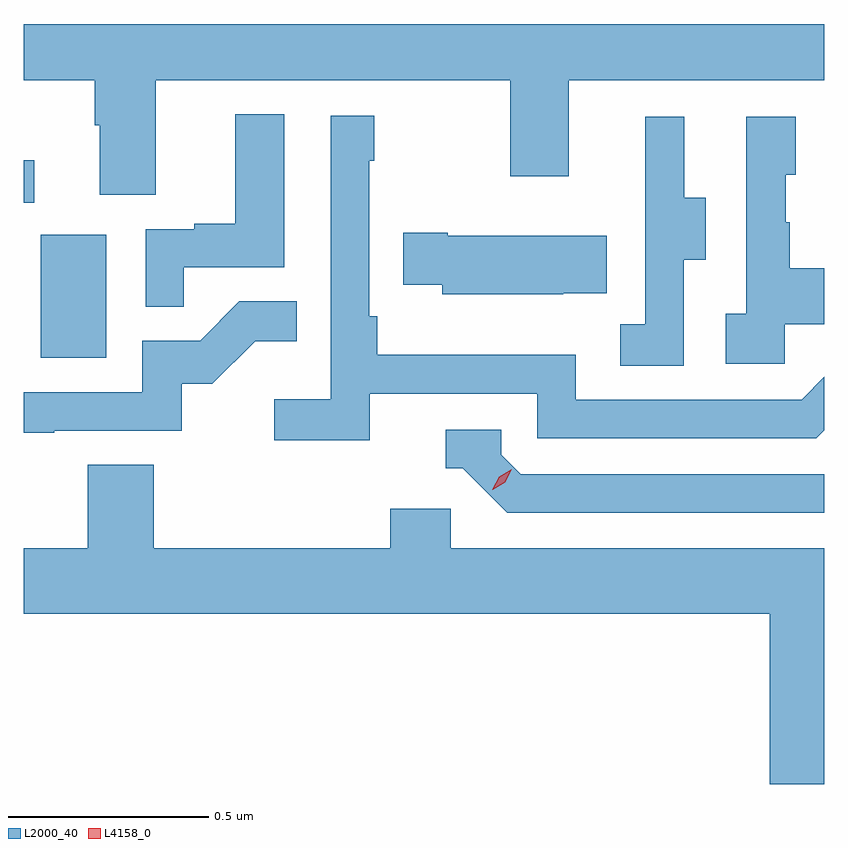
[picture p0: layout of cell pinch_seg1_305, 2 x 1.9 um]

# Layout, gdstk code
import gdstk
lib = gdstk.Library(unit=1e-6, precision=1e-09)
def R(c, l, rs):  # rectangles x0, y0, x1, y1
    for r in rs: c.add(gdstk.rectangle(r[:2], r[2:], *l))
def P(c, l, *ps):  # polygons
    for p in ps: c.add(gdstk.Polygon(p, *l))
L2000_40 = (2000, 40)
L4158_0 = (4158, 0)

pinch_seg1_305 = lib.new_cell('pinch_seg1_305')
R(pinch_seg1_305, L2000_40, [(934.55,563.028,934.714,563.335), (934.507,563.415,934.534,563.521)])
P(pinch_seg1_305, L2000_40, [(934.837,563.72),(935.722,563.72),(935.722,563.481),(935.869,563.481),(935.869,563.72),(936.507,563.72),(936.507,563.861),(934.507,563.861),(934.507,563.72),(934.685,563.72),(934.685,563.608),(934.697,563.608),(934.697,563.434),(934.837,563.434)],
  [(934.907,563.253),(935.158,563.253),(935.158,563.635),(935.036,563.635),(935.036,563.362),(934.933,563.362),(934.933,563.349),(934.812,563.349),(934.812,563.155),(934.907,563.155)],
  [(935.372,562.938),(935.79,562.938),(935.79,562.827),(936.487,562.827),(936.507,562.847),(936.507,562.98),(936.45,562.923),(935.886,562.923),(935.886,563.035),(935.39,563.035),(935.39,563.131),(935.37,563.131),(935.37,563.519),(935.383,563.519),(935.383,563.632),(935.274,563.632),(935.274,562.924),(935.133,562.924),(935.133,562.822),(935.372,562.822)],
  [(936.156,563.272),(936.211,563.272),(936.211,563.427),(936.157,563.427),(936.157,563.629),(936.059,563.629),(936.059,563.415),(936.06,563.415),(936.06,563.111),(935.997,563.111),(935.997,563.008),(936.156,563.008)],
  [(936.408,563.111),(936.507,563.111),(936.507,563.251),(936.421,563.251),(936.421,563.366),(936.411,563.366),(936.411,563.484),(936.436,563.484),(936.436,563.629),(936.312,563.629),(936.312,563.138),(936.261,563.138),(936.261,563.013),(936.408,563.013)],
  [(935.855,563.189),(935.963,563.189),(935.963,563.332),(935.566,563.332),(935.566,563.34),(935.455,563.34),(935.455,563.21),(935.553,563.21),(935.553,563.186),(935.855,563.186)],
  [(934.583,562.845),(934.902,562.845),(934.902,562.962),(934.978,562.962),(935.085,563.069),(935.189,563.069),(935.189,563.168),(935.046,563.168),(934.948,563.07),(934.803,563.07),(934.803,562.941),(934.507,562.941),(934.507,562.84),(934.583,562.84)],
  [(936.507,562.737),(935.748,562.737),(935.7,562.785),(935.7,562.848),(935.561,562.848),(935.561,562.752),(935.604,562.752),(935.715,562.641),(936.507,562.641)],
  [(936.507,562.552),(935.574,562.552),(935.574,562.65),(935.423,562.65),(935.423,562.552),(934.832,562.552),(934.832,562.76),(934.667,562.76),(934.667,562.552),(934.507,562.552),(934.507,562.388),(936.371,562.388),(936.371,561.963),(936.507,561.963)])
P(pinch_seg1_305, L4158_0, [(935.678,562.698),(935.678,562.698),(935.695,562.73),(935.726,562.749),(935.726,562.749),(935.726,562.749),(935.71,562.717),(935.679,562.698)])

lib.write_gds('pinch_seg1_305.gds')
